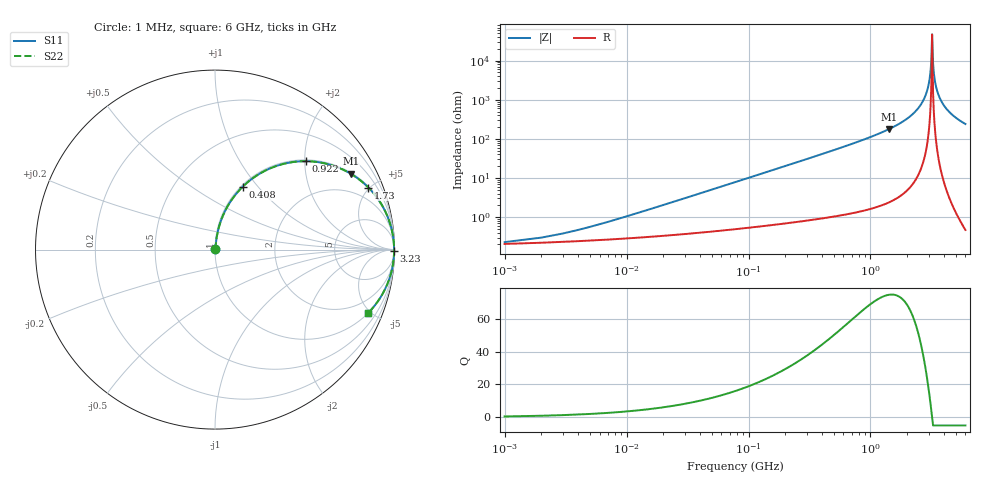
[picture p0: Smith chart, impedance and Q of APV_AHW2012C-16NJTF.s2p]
! APV AHW2012C-16NJTF 16 nH 0805 wire-wound (alternative L1 match inductor)
! Lumped model fitted to APV datasheet: Q=50@500MHz, SRF=3200MHz, DCR=0.17 ohm
! Model: (L + DCR + k*sqrt(f)) || Cp ; L=1.6e-08 H, Cp=1.55e-13 F, k=3.63e-05
! Generated by script - an estimate, not a measurement
! Series-thru 2-port: part connected between port 1 and port 2.
# Hz S RI R 50
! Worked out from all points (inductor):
!   1500 points, 1 MHz to 6 GHz, reference 50 ohm
!   read as one part in series: L = 16 nH near 9 MHz
!   highest Q = 74.6 at 1.42 GHz (marker M1), where L = 19.9 nH
!   self-resonance near 3.19 GHz
!   S11 on the Smith chart (normalised r, x): 1 MHz: 1.00, +0.00; 408 MHz: 1.02, +0.83; 922 MHz: 1.03, +2.02; 1.73 GHz: 1.07, +4.91; 3.23 GHz: open; 6 GHz: 1.01, -4.80
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1000000  0.00206 0.001  0.9979 -0.001  0.9979 -0.001  0.00206 0.001
5000000  0.00253 0.005  0.9975 -0.005  0.9975 -0.005  0.00253 0.005
1.9e7  0.00363 0.019  0.9964 -0.019  0.9964 -0.019  0.00363 0.019
7.8e7  0.0109 0.0772  0.9891 -0.0772  0.9891 -0.0772  0.0109 0.0772
3.31e8  0.1077 0.2976  0.8923 -0.2976  0.8923 -0.2976  0.1077 0.2976
4.08e8  0.1537 0.3496  0.8463 -0.3496  0.8463 -0.3496  0.1537 0.3496
9.22e8  0.5053 0.4926  0.4947 -0.4926  0.4947 -0.4926  0.5053 0.4926
1.41e9  0.7529 0.4247  0.2471 -0.4247  0.2471 -0.4247  0.7529 0.4247
1.42e9  0.7567 0.4224  0.2433 -0.4224  0.2433 -0.4224  0.7567 0.4224
1.73e9  0.8546 0.3458  0.1454 -0.3458  0.1454 -0.3458  0.8546 0.3458
2.28e9  0.9528 0.2039  0.0472 -0.2039  0.0472 -0.2039  0.9528 0.2039
2.73e9  0.9876 0.0977  0.0124 -0.0977  0.0124 -0.0977  0.9876 0.0977
2.99e9  0.9959 0.0419  0.00414 -0.0419  0.00414 -0.0419  0.9959 0.0419
3.08e9  0.9972 0.0236  0.00283 -0.0236  0.00283 -0.0236  0.9972 0.0236
3.16e9  0.9978 0.00777  0.00224 -0.00777  0.00224 -0.00777  0.9978 0.00777
3.23e9  0.9979 -0.00579  0.00214 0.00579  0.00214 0.00579  0.9979 -0.00579
3.32e9  0.9975 -0.0228  0.00255 0.0228  0.00255 0.0228  0.9975 -0.0228
3.4e9  0.9966 -0.0375  0.00336 0.0375  0.00336 0.0375  0.9966 -0.0375
3.54e9  0.9942 -0.0624  0.00575 0.0624  0.00575 0.0624  0.9942 -0.0624
3.74e9  0.989 -0.0961  0.011 0.0961  0.011 0.0961  0.989 -0.0961
4.5e9  0.9543 -0.2059  0.0457 0.2059  0.0457 0.2059  0.9543 -0.2059
6e9  0.8513 -0.3548  0.1487 0.3548  0.1487 0.3548  0.8513 -0.3548
